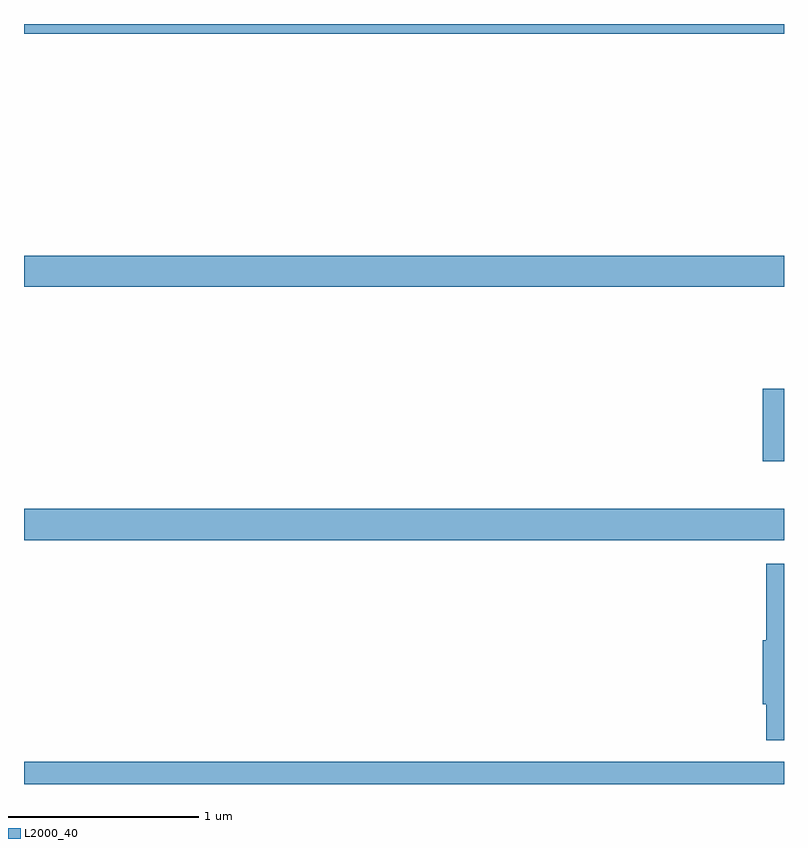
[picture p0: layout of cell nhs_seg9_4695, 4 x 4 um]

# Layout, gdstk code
import gdstk
lib = gdstk.Library(unit=1e-6, precision=1e-09)
def R(c, l, rs):  # rectangles x0, y0, x1, y1
    for r in rs: c.add(gdstk.rectangle(r[:2], r[2:], *l))
def P(c, l, *ps):  # polygons
    for p in ps: c.add(gdstk.Polygon(p, *l))
L2000_40 = (2000, 40)

nhs_seg9_4695 = lib.new_cell('nhs_seg9_4695')
R(nhs_seg9_4695, L2000_40, [(383,1164.5,387,1164.616), (383,1165.784,387,1165.948), (386.888,1166.199,387,1166.58), (383,1167.116,387,1167.28), (383,1168.448,387,1168.5)])
P(nhs_seg9_4695, L2000_40, [(387,1165.66),(386.906,1165.66),(386.906,1165.257),(386.888,1165.257),(386.888,1164.921),(386.906,1164.921),(386.906,1164.729),(387,1164.729)])

lib.write_gds('nhs_seg9_4695.gds')
